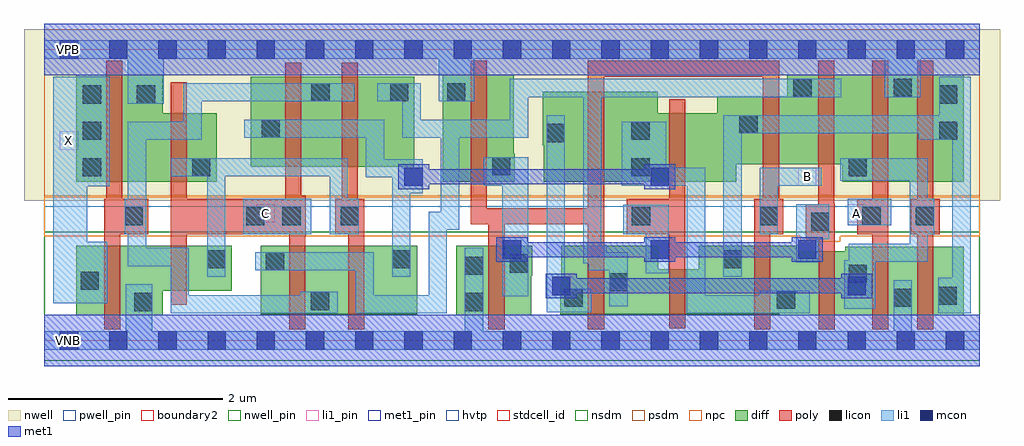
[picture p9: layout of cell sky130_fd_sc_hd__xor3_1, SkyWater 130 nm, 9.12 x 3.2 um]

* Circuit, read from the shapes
.subckt sky130_fd_sc_hd__xor3_1 A B C VGND VNB VPB VPWR X
XM1 VGND n1 X VNB sky130_fd_pr__nfet_01v8 w=0.65 l=0.15
XM2 n2 C VGND VNB sky130_fd_pr__nfet_01v8 w=0.42 l=0.15
XM3 n1 C n3 VNB sky130_fd_pr__nfet_01v8 w=0.64 l=0.15
XM4 n4 n2 n1 VNB sky130_fd_pr__nfet_01v8 w=0.64 l=0.15
XM5 n5 B VGND VNB sky130_fd_pr__nfet_01v8 w=0.65 l=0.15
XM6 n3 B n6 VNB sky130_fd_pr__nfet_01v8 w=0.64 l=0.15
XM7 n7 n5 n3 VNB sky130_fd_pr__nfet_01v8 w=0.42 l=0.15
XM8 n4 B n7 VNB sky130_fd_pr__nfet_01v8 w=0.64 l=0.15
XM9 n6 n5 n4 VNB sky130_fd_pr__nfet_01v8 w=0.6 l=0.15
XM10 VGND A n6 VNB sky130_fd_pr__nfet_01v8 w=0.64 l=0.15
XM11 n7 n6 VGND VNB sky130_fd_pr__nfet_01v8 w=0.64 l=0.15
XM12 VPWR n1 X VPB sky130_fd_pr__pfet_01v8_hvt w=1 l=0.15
XM13 n2 C VPWR VPB sky130_fd_pr__pfet_01v8_hvt w=0.64 l=0.15
XM14 n1 C n4 VPB sky130_fd_pr__pfet_01v8_hvt w=0.84 l=0.15
XM15 n3 n2 n1 VPB sky130_fd_pr__pfet_01v8_hvt w=0.84 l=0.15
XM16 n5 B VPWR VPB sky130_fd_pr__pfet_01v8_hvt w=1 l=0.15
XM17 n4 B n6 VPB sky130_fd_pr__pfet_01v8_hvt w=0.84 l=0.15
XM18 n7 n5 n4 VPB sky130_fd_pr__pfet_01v8_hvt w=0.64 l=0.15
XM19 n3 B n7 VPB sky130_fd_pr__pfet_01v8_hvt w=0.64 l=0.15
XM20 n6 n5 n3 VPB sky130_fd_pr__pfet_01v8_hvt w=0.84 l=0.15
XM21 VPWR A n6 VPB sky130_fd_pr__pfet_01v8_hvt w=1 l=0.15
XM22 n7 n6 VPWR VPB sky130_fd_pr__pfet_01v8_hvt w=1 l=0.15
.ends

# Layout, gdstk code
import gdstk
lib = gdstk.Library(unit=1e-6, precision=1e-09)
def R(c, l, rs):  # rectangles x0, y0, x1, y1
    for r in rs: c.add(gdstk.rectangle(r[:2], r[2:], *l))
def A(c, l, x, y, w, h, nx, ny, dx, dy):  # array of equal rectangles
    R(c, l, [(x+i*dx, y+j*dy, x+i*dx+w, y+j*dy+h) for i in range(nx) for j in range(ny)])
def P(c, l, *ps):  # polygons
    for p in ps: c.add(gdstk.Polygon(p, *l))
nwell_pin = (64, 16)
nwell = (64, 20)
diff = (65, 20)
poly = (66, 20)
licon = (66, 44)
li1_pin = (67, 16)
li1 = (67, 20)
mcon = (67, 44)
met1_pin = (68, 16)
met1 = (68, 20)
hvtp = (78, 44)
stdcell_id = (81, 4)
nsdm = (93, 44)
psdm = (94, 20)
npc = (95, 20)
pwell_pin = (122, 16)
boundary2 = (236, 0)

sky130_fd_sc_hd__xor3_1 = lib.new_cell('sky130_fd_sc_hd__xor3_1')
R(sky130_fd_sc_hd__xor3_1, nwell_pin, [(0.145,2.635,0.315,2.805)])
R(sky130_fd_sc_hd__xor3_1, nwell, [(-0.19,1.305,8.93,2.91)])
R(sky130_fd_sc_hd__xor3_1, diff, [(2.02,0.245,3.485,0.885), (1.93,1.625,3.455,2.465)])
P(sky130_fd_sc_hd__xor3_1, diff, [(1.61,2.125),(1.105,2.125),(1.105,2.485),(0.3,2.485),(0.3,1.485),(1.61,1.485)],
  [(1.75,0.885),(0.3,0.885),(0.3,0.235),(1.105,0.235),(1.105,0.465),(1.75,0.465)],
  [(4.395,1.745),(4.385,1.745),(4.385,2.485),(3.725,2.485),(3.725,1.485),(4.395,1.485)],
  [(4.56,0.885),(3.85,0.885),(3.85,0.235),(4.55,0.235),(4.55,0.605),(4.56,0.605)],
  [(8.59,2.485),(6.94,2.485),(6.94,2.285),(6.29,2.285),(6.29,2.125),(5.73,2.125),(5.73,2.325),(4.655,2.325),(4.655,1.825),(4.665,1.825),(4.665,1.485),(6.465,1.485),(6.465,1.645),(7.455,1.645),(7.455,1.485),(8.59,1.485)],
  [(8.59,0.875),(7.485,0.875),(7.485,0.835),(7.035,0.835),(7.035,0.885),(6.115,0.885),(6.115,0.665),(5.735,0.665),(5.735,0.885),(4.83,0.885),(4.83,0.525),(4.82,0.525),(4.82,0.245),(6.87,0.245),(6.87,0.235),(8.59,0.235)])
P(sky130_fd_sc_hd__xor3_1, poly, [(0.97,1.325),(0.73,1.325),(0.73,2.615),(0.58,2.615),(0.58,1.325),(0.56,1.325),(0.56,0.105),(0.71,0.105),(0.71,0.995),(0.97,0.995)],
  [(2.445,1.355),(2.4,1.355),(2.4,2.595),(2.25,2.595),(2.25,1.325),(1.33,1.325),(1.33,2.415),(1.18,2.415),(1.18,0.335),(1.33,0.335),(1.33,0.995),(2.29,0.995),(2.29,0.105),(2.44,0.105),(2.44,0.985),(2.445,0.985)],
  [(2.99,1.325),(2.93,1.325),(2.93,2.595),(2.78,2.595),(2.78,1.325),(2.72,1.325),(2.72,0.995),(2.84,0.995),(2.84,0.105),(2.99,0.105)],
  [(5.99,2.255),(5.84,2.255),(5.84,1.325),(5.44,1.325),(5.44,0.995),(5.84,0.995),(5.84,0.115),(5.99,0.115)],
  [(8.365,1.325),(8.305,1.325),(8.305,2.615),(8.155,2.615),(8.155,1.325),(8.095,1.325),(8.095,0.995),(8.155,0.995),(8.155,0.105),(8.305,0.105),(8.305,0.995),(8.365,0.995)],
  [(6.905,1.325),(6.865,1.325),(6.865,2.615),(5.08,2.615),(5.08,1.235),(4.135,1.235),(4.135,2.615),(3.985,2.615),(3.985,1.085),(4.15,1.085),(4.15,0.105),(4.3,0.105),(4.3,1.085),(5.08,1.085),(5.08,0.105),(5.23,0.105),(5.23,2.465),(6.715,2.465),(6.715,1.325),(6.635,1.325),(6.635,0.105),(6.785,0.105),(6.785,0.995),(6.905,0.995)],
  [(7.385,1.28),(7.38,1.28),(7.38,2.615),(7.23,2.615),(7.23,1.275),(7.115,1.275),(7.115,0.945),(7.235,0.945),(7.235,0.105),(7.385,0.105)],
  [(7.885,2.615),(7.735,2.615),(7.735,1.325),(7.595,1.325),(7.595,0.995),(7.735,0.995),(7.735,0.105),(7.885,0.105)])
A(sky130_fd_sc_hd__xor3_1, licon, 0.36, 1.535, 0.17, 0.17, 1, 3, 0, 0.34)
R(sky130_fd_sc_hd__xor3_1, licon, [(0.84,0.275,1.01,0.445), (3.93,0.275,4.1,0.445), (2.49,0.285,2.66,0.455), (6.845,0.295,7.015,0.465), (4.86,0.315,5.03,0.485), (7.935,0.315,8.105,0.485), (8.355,0.335,8.525,0.505), (5.28,0.46,5.45,0.63), (0.34,0.475,0.51,0.645), (7.515,0.54,7.685,0.71), (3.93,0.615,4.1,0.785), (4.35,0.635,4.52,0.805), (2.07,0.655,2.24,0.825), (1.52,0.675,1.69,0.845), (3.25,0.675,3.42,0.845), (6.345,0.675,6.515,0.845), (7.165,1.025,7.335,1.195), (0.75,1.075,0.92,1.245), (1.885,1.075,2.055,1.245), (2.225,1.075,2.395,1.245), (2.77,1.075,2.94,1.245), (5.49,1.075,5.66,1.245), (6.685,1.075,6.855,1.245), (7.645,1.075,7.815,1.245), (8.145,1.075,8.315,1.245), (1.38,1.535,1.55,1.705), (5.485,1.535,5.655,1.705), (7.515,1.535,7.685,1.705), (4.185,1.545,4.355,1.715), (4.695,1.855,4.865,2.025), (5.485,1.875,5.655,2.045), (8.36,1.875,8.53,2.045), (2.03,1.895,2.2,2.065), (6.495,1.935,6.665,2.105), (0.865,2.215,1.035,2.385), (8.36,2.215,8.53,2.385), (2.495,2.235,2.665,2.405), (3.23,2.235,3.4,2.405), (3.765,2.235,3.935,2.405), (7,2.275,7.17,2.445), (7.935,2.275,8.105,2.445)])
R(sky130_fd_sc_hd__xor3_1, li1_pin, [(1.985,1.105,2.155,1.275), (7.505,1.105,7.675,1.275), (7.045,1.445,7.215,1.615), (0.145,1.785,0.315,1.955)])
R(sky130_fd_sc_hd__xor3_1, li1, [(1.86,0.995,2.495,1.325), (7.505,1.075,7.915,1.325)])
P(sky130_fd_sc_hd__xor3_1, li1, [(8.74,0.085),(8.105,0.085),(8.105,0.565),(7.935,0.565),(7.935,0.085),(4.1,0.085),(4.1,0.865),(3.93,0.865),(3.93,0.085),(1.01,0.085),(1.01,0.525),(0.76,0.525),(0.76,0.085),(0,0.085),(0,-0.085),(8.74,-0.085)],
  [(8.315,1.325),(8.255,1.325),(8.255,1.705),(7.435,1.705),(7.435,1.495),(8.085,1.495),(8.085,0.905),(7.515,0.905),(7.515,0.75),(7.475,0.75),(7.475,0.295),(7.765,0.295),(7.765,0.735),(8.255,0.735),(8.255,0.995),(8.315,0.995)],
  [(0.61,2.465),(0.085,2.465),(0.085,0.35),(0.59,0.35),(0.59,0.925),(0.4,0.925),(0.4,1.44),(0.61,1.44)],
  [(2.895,2.405),(1.3,2.405),(1.3,2.045),(0.78,2.045),(0.78,1.325),(0.75,1.325),(0.75,0.995),(0.78,0.995),(0.78,0.695),(1.18,0.695),(1.18,0.255),(2.74,0.255),(2.74,0.455),(2.39,0.455),(2.39,0.425),(1.35,0.425),(1.35,0.865),(0.95,0.865),(0.95,1.875),(1.47,1.875),(1.47,2.235),(2.895,2.235)],
  [(2.94,1.325),(2.835,1.325),(2.835,1.705),(1.185,1.705),(1.185,1.535),(1.52,1.535),(1.52,0.595),(1.69,0.595),(1.69,1.535),(2.665,1.535),(2.665,0.995),(2.94,0.995)],
  [(3.535,1.695),(3.175,1.695),(3.175,2.065),(1.87,2.065),(1.87,1.895),(3.005,1.895),(3.005,1.525),(3.25,1.525),(3.25,0.595),(3.42,0.595),(3.42,1.375),(3.535,1.375)],
  [(4.52,1.715),(4.105,1.715),(4.105,1.445),(4.28,1.445),(4.28,0.415),(4.52,0.415)],
  [(5.11,0.485),(4.915,0.485),(4.915,0.595),(4.865,0.595),(4.865,2.105),(4.695,2.105),(4.695,0.265),(5.11,0.265)],
  [(5.835,1.27),(5.41,1.27),(5.41,0.995),(5.62,0.995),(5.62,0.63),(5.835,0.63)],
  [(8.74,2.805),(0,2.805),(0,2.635),(0.78,2.635),(0.78,2.215),(1.115,2.215),(1.115,2.635),(3.685,2.635),(3.685,2.235),(4.015,2.235),(4.015,2.635),(7.855,2.635),(7.855,2.275),(8.19,2.275),(8.19,2.635),(8.74,2.635)],
  [(7.15,0.465),(6.685,0.465),(6.685,0.425),(6.175,0.425),(6.175,1.615),(5.81,1.615),(5.81,2.045),(5.395,2.045),(5.395,1.445),(6.005,1.445),(6.005,0.255),(7.15,0.255)],
  [(7.265,1.615),(6.685,1.615),(6.685,0.995),(6.855,0.995),(6.855,1.445),(7.265,1.445)],
  [(7.335,1.275),(7.025,1.275),(7.025,0.73),(7.23,0.73),(7.23,0.945),(7.335,0.945)],
  [(8.655,2.465),(8.36,2.465),(8.36,2.105),(6.345,2.105),(6.345,0.595),(6.515,0.595),(6.515,1.935),(8.17,1.935),(8.17,1.875),(8.485,1.875),(8.485,0.585),(8.355,0.585),(8.355,0.255),(8.655,0.255)],
  [(7.445,2.445),(4.35,2.445),(4.35,2.065),(3.515,2.065),(3.515,2.405),(3.11,2.405),(3.11,2.235),(3.345,2.235),(3.345,1.895),(3.705,1.895),(3.705,1.205),(3.59,1.205),(3.59,0.425),(3.08,0.425),(3.08,0.825),(1.97,0.825),(1.97,0.655),(2.91,0.655),(2.91,0.255),(3.76,0.255),(3.76,1.035),(3.875,1.035),(3.875,1.895),(4.52,1.895),(4.52,2.275),(5.035,2.275),(5.035,0.72),(5.085,0.72),(5.085,0.655),(5.28,0.655),(5.28,0.32),(5.45,0.32),(5.45,0.825),(5.255,0.825),(5.255,0.89),(5.205,0.89),(5.205,2.275),(7.445,2.275)])
A(sky130_fd_sc_hd__xor3_1, mcon, 0.145, -0.085, 0.17, 0.17, 19, 2, 0.46, 2.72)
A(sky130_fd_sc_hd__xor3_1, mcon, 4.285, 0.765, 0.17, 0.17, 3, 1, 1.38, 0)
R(sky130_fd_sc_hd__xor3_1, mcon, [(4.745,0.425,4.915,0.595), (7.505,0.425,7.675,0.595), (3.365,1.445,3.535,1.615), (5.665,1.445,5.835,1.615)])
R(sky130_fd_sc_hd__xor3_1, met1_pin, [(0.145,-0.085,0.315,0.085), (0.145,2.635,0.315,2.805)])
P(sky130_fd_sc_hd__xor3_1, met1, [(5.895,1.645),(5.605,1.645),(5.605,1.6),(3.595,1.6),(3.595,1.645),(3.305,1.645),(3.305,1.415),(3.595,1.415),(3.595,1.46),(5.605,1.46),(5.605,1.415),(5.895,1.415)],
  [(7.275,0.965),(6.985,0.965),(6.985,0.92),(5.895,0.92),(5.895,0.965),(5.605,0.965),(5.605,0.92),(4.515,0.92),(4.515,0.965),(4.225,0.965),(4.225,0.735),(4.515,0.735),(4.515,0.78),(5.605,0.78),(5.605,0.735),(5.895,0.735),(5.895,0.78),(6.985,0.78),(6.985,0.735),(7.275,0.735)],
  [(7.735,0.625),(7.445,0.625),(7.445,0.58),(4.975,0.58),(4.975,0.625),(4.685,0.625),(4.685,0.395),(4.975,0.395),(4.975,0.44),(7.445,0.44),(7.445,0.395),(7.735,0.395)])
R(sky130_fd_sc_hd__xor3_1, hvtp, [(0,1.25,8.74,2.72)])
R(sky130_fd_sc_hd__xor3_1, stdcell_id, [(0,0,8.74,2.72)])
R(sky130_fd_sc_hd__xor3_1, nsdm, [(0,-0.19,8.74,1.015)])
R(sky130_fd_sc_hd__xor3_1, psdm, [(0,1.355,8.74,2.91)])
P(sky130_fd_sc_hd__xor3_1, npc, [(8.74,1.345),(0,1.345),(0,0.975),(7.065,0.975),(7.065,0.925),(7.435,0.925),(7.435,0.975),(8.74,0.975)])
R(sky130_fd_sc_hd__xor3_1, pwell_pin, [(0.145,-0.085,0.315,0.085)])
R(sky130_fd_sc_hd__xor3_1, boundary2, [(0,0,8.74,2.72)])
sky130_fd_sc_hd__xor3_1.add(gdstk.FlexPath([(0,2.72),(8.74,2.72)], 0.48, ends="flush", simple_path=True, layer=68, datatype=20))  # met1
sky130_fd_sc_hd__xor3_1.add(gdstk.FlexPath([(0,0),(8.74,0)], 0.48, ends="flush", simple_path=True, layer=68, datatype=20))  # met1
sky130_fd_sc_hd__xor3_1.add(gdstk.Label('X', (0.23,1.87), layer=67, texttype=5))
sky130_fd_sc_hd__xor3_1.add(gdstk.Label('C', (2.07,1.19), layer=67, texttype=5))
sky130_fd_sc_hd__xor3_1.add(gdstk.Label('B', (7.13,1.53), layer=67, texttype=5))
sky130_fd_sc_hd__xor3_1.add(gdstk.Label('A', (7.59,1.19), layer=67, texttype=5))
sky130_fd_sc_hd__xor3_1.add(gdstk.Label('VNB', (0.23,0), layer=64, texttype=59))
sky130_fd_sc_hd__xor3_1.add(gdstk.Label('VPB', (0.23,2.72), layer=64, texttype=5))
sky130_fd_sc_hd__xor3_1.add(gdstk.Label('VGND', (0.23,0), layer=68, texttype=5))
sky130_fd_sc_hd__xor3_1.add(gdstk.Label('VPWR', (0.23,2.72), layer=68, texttype=5))
sky130_fd_sc_hd__xor3_1.add(gdstk.Label('xor3_1', (0,0), layer=83, texttype=44))

lib.write_gds('sky130_fd_sc_hd__xor3_1.gds')
